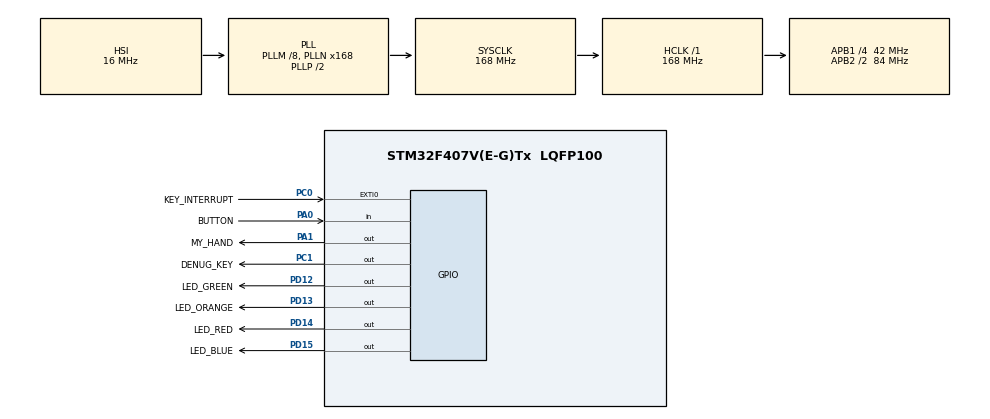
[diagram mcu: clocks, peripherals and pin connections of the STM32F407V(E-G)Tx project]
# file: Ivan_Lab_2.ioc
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Mcu.Family=STM32F4
Mcu.Name=STM32F407V(E-G)Tx
Mcu.Package=LQFP100
NVIC.EXTI0_IRQn=true\:0\:0\:false\:false\:true\:true\:true\:true
NVIC.PriorityGroup=NVIC_PRIORITYGROUP_4
PA0-WKUP.GPIO_Label=BUTTON
PA0-WKUP.Signal=GPIO_Input
PA1.GPIO_Label=MY_HAND
PA1.GPIO_PuPd=GPIO_PULLDOWN
PA1.Signal=GPIO_Output
PA13.Mode=Serial_Wire
PA13.Signal=SYS_JTMS-SWDIO
PA14.Mode=Serial_Wire
PA14.Signal=SYS_JTCK-SWCLK
PC0.GPIO_Label=KEY_INTERRUPT
PC0.GPIO_ModeDefaultEXTI=GPIO_MODE_IT_RISING
PC0.GPIO_PuPd=GPIO_PULLDOWN
PC0.Signal=GPXTI0
PC1.GPIO_Label=DENUG_KEY
PC1.GPIO_PuPd=GPIO_PULLUP
PC1.Signal=GPIO_Output
PD12.GPIO_Label=LED_GREEN
PD12.GPIO_PuPd=GPIO_PULLDOWN
PD12.Signal=GPIO_Output
PD13.GPIO_Label=LED_ORANGE
PD13.GPIO_PuPd=GPIO_PULLDOWN
PD13.Signal=GPIO_Output
PD14.GPIO_Label=LED_RED
PD14.GPIO_PuPd=GPIO_PULLDOWN
PD14.Signal=GPIO_Output
PD15.GPIO_Label=LED_BLUE
PD15.GPIO_PuPd=GPIO_PULLDOWN
PD15.Signal=GPIO_Output
PH0-OSC_IN.Mode=HSE-External-Oscillator
PH0-OSC_IN.Signal=RCC_OSC_IN
PH1-OSC_OUT.Mode=HSE-External-Oscillator
PH1-OSC_OUT.Signal=RCC_OSC_OUT
ProjectManager.HeapSize=0x200
ProjectManager.StackSize=0x400
ProjectManager.TargetToolchain=MDK-ARM V5.32
RCC.48MHZClocksFreq_Value=84000000
RCC.AHBFreq_Value=168000000
RCC.APB1CLKDivider=RCC_HCLK_DIV4
RCC.APB1Freq_Value=42000000
RCC.APB1TimFreq_Value=84000000
RCC.APB2CLKDivider=RCC_HCLK_DIV2
RCC.APB2Freq_Value=84000000
RCC.APB2TimFreq_Value=168000000
RCC.CortexFreq_Value=168000000
RCC.HCLKFreq_Value=168000000
RCC.HSE_VALUE=8000000
RCC.HSI_VALUE=16000000
RCC.LSE_VALUE=32768
RCC.PLLM=8
RCC.PLLN=168
RCC.SYSCLKFreq_VALUE=168000000
RCC.SYSCLKSource=RCC_SYSCLKSOURCE_PLLCLK
RCC.VCOOutputFreq_Value=336000000
board=custom

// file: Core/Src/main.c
/* USER CODE BEGIN Header */
/**
  ******************************************************************************
  * @file           : main.c
  * @brief          : Main program body
  ******************************************************************************
  * @attention
  *
  * Copyright (c) 2024 STMicroelectronics.
  * All rights reserved.
  *
  * This software is licensed under terms that can be found in the LICENSE file
  * in the root directory of this software component.
  * If no LICENSE file comes with this software, it is provided AS-IS.
  *
  ******************************************************************************
  */
/* USER CODE END Header */
#include "main.h"
#include "gpio.h"

/* USER CODE BEGIN Includes */
#include "stdbool.h"
/* USER CODE END Includes */

/* USER CODE BEGIN PV */
GPIO_PinState pin_state = GPIO_PIN_RESET;
bool flag_set_button = false;
leds_name_e_t led_switcher = GREEN;

/* USER CODE END PV */

void SystemClock_Config(void);

int main(void)
{

  /* MCU Configuration--------------------------------------------------------*/

  /* Reset of all peripherals, Initializes the Flash interface and the Systick. */
  HAL_Init();

  /* Configure the system clock */
  SystemClock_Config();

  /* Initialize all configured peripherals */
  MX_GPIO_Init();

  /* Infinite loop */
  /* USER CODE BEGIN WHILE */
  while (1)
  {
    pin_state = HAL_GPIO_ReadPin (BUTTON_GPIO_Port, BUTTON_Pin);
		if (pin_state == GPIO_PIN_SET)
		{
			if (flag_set_button == false)
			{
		    flag_set_button = true;
				led_switcher ++;
			   	if (led_switcher == LED_MAX)
          {
						led_switcher = GREEN;
					}
// switch (led_switcher)
				  HAL_GPIO_TogglePin(LED_GREEN_GPIO_Port, LED_GREEN_Pin);
//
			}
		}
	  else
		{
			flag_set_button = false;
		}
    /* USER CODE END WHILE */

  }
}

void SystemClock_Config(void)
{
  RCC_OscInitTypeDef RCC_OscInitStruct = {0};
  RCC_ClkInitTypeDef RCC_ClkInitStruct = {0};

  /** Configure the main internal regulator output voltage
  */
  __HAL_RCC_PWR_CLK_ENABLE();
  __HAL_PWR_VOLTAGESCALING_CONFIG(PWR_REGULATOR_VOLTAGE_SCALE1);

  /** Initializes the RCC Oscillators according to the specified parameters
  * in the RCC_OscInitTypeDef structure.
  */
  RCC_OscInitStruct.OscillatorType = RCC_OSCILLATORTYPE_HSI;
  RCC_OscInitStruct.HSIState = RCC_HSI_ON;
  RCC_OscInitStruct.HSICalibrationValue = RCC_HSICALIBRATION_DEFAULT;
  RCC_OscInitStruct.PLL.PLLState = RCC_PLL_ON;
  RCC_OscInitStruct.PLL.PLLSource = RCC_PLLSOURCE_HSI;
  RCC_OscInitStruct.PLL.PLLM = 8;
  RCC_OscInitStruct.PLL.PLLN = 168;
  RCC_OscInitStruct.PLL.PLLP = RCC_PLLP_DIV2;
  RCC_OscInitStruct.PLL.PLLQ = 4;
  if (HAL_RCC_OscConfig(&RCC_OscInitStruct) != HAL_OK)
  {
    Error_Handler();
  }

  /** Initializes the CPU, AHB and APB buses clocks
  */
  RCC_ClkInitStruct.ClockType = RCC_CLOCKTYPE_HCLK|RCC_CLOCKTYPE_SYSCLK
                              |RCC_CLOCKTYPE_PCLK1|RCC_CLOCKTYPE_PCLK2;
  RCC_ClkInitStruct.SYSCLKSource = RCC_SYSCLKSOURCE_PLLCLK;
  RCC_ClkInitStruct.AHBCLKDivider = RCC_SYSCLK_DIV1;
  RCC_ClkInitStruct.APB1CLKDivider = RCC_HCLK_DIV4;
  RCC_ClkInitStruct.APB2CLKDivider = RCC_HCLK_DIV2;

  if (HAL_RCC_ClockConfig(&RCC_ClkInitStruct, FLASH_LATENCY_5) != HAL_OK)
  {
    Error_Handler();
  }
}

/* USER CODE BEGIN 4 */
void HAL_GPIO_EXTI_Callback(uint16_t GPIO_Pin)
{
led_switcher --;
			   	if (led_switcher == LED_MAX)
          {
						led_switcher = GREEN;
					}
// switch (led_switcher)
				  HAL_GPIO_TogglePin(LED_GREEN_GPIO_Port, LED_GREEN_Pin);
}
/* USER CODE END 4 */

void Error_Handler(void)
{
  __disable_irq();
  while (1)
  {
  }
}
